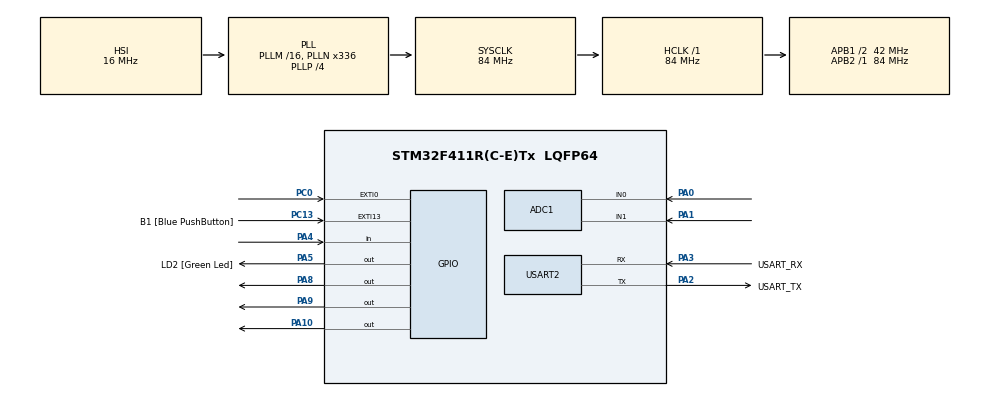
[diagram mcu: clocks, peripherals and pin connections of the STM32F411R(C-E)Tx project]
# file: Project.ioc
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ADC1.Channel-0\#ChannelRegularConversion=ADC_CHANNEL_1
ADC1.NbrOfConversionFlag=1
ADC1.Rank-0\#ChannelRegularConversion=1
ADC1.SamplingTime-0\#ChannelRegularConversion=ADC_SAMPLETIME_3CYCLES
ADC1.master=1
Mcu.Family=STM32F4
Mcu.Name=STM32F411R(C-E)Tx
Mcu.Package=LQFP64
NVIC.EXTI0_IRQn=true\:0\:0\:false\:false\:true\:true\:true\:true
NVIC.PriorityGroup=NVIC_PRIORITYGROUP_0
NVIC.USART2_IRQn=true\:0\:0\:false\:false\:true\:true\:true\:true
PA0-WKUP.Signal=ADCx_IN0
PA1.Signal=ADCx_IN1
PA10.Signal=GPIO_Output
PA13.GPIO_Label=TMS
PA13.Mode=Serial_Wire
PA13.Signal=SYS_JTMS-SWDIO
PA14.GPIO_Label=TCK
PA14.Mode=Serial_Wire
PA14.Signal=SYS_JTCK-SWCLK
PA2.GPIO_Label=USART_TX
PA2.Mode=Asynchronous
PA2.Signal=USART2_TX
PA3.GPIO_Label=USART_RX
PA3.Mode=Asynchronous
PA3.Signal=USART2_RX
PA4.GPIO_PuPd=GPIO_PULLUP
PA4.Signal=GPIO_Input
PA5.GPIO_Label=LD2 [Green Led]
PA5.Signal=GPIO_Output
PA8.Signal=GPIO_Output
PA9.Signal=GPIO_Output
PB3.GPIO_Label=SWO
PB3.Signal=SYS_JTDO-SWO
PC0.GPIO_ModeDefaultEXTI=GPIO_MODE_IT_FALLING
PC0.GPIO_PuPd=GPIO_PULLUP
PC0.Signal=GPXTI0
PC13-ANTI_TAMP.GPIO_Label=B1 [Blue PushButton]
PC13-ANTI_TAMP.GPIO_ModeDefaultEXTI=GPIO_MODE_IT_FALLING
PC13-ANTI_TAMP.Signal=GPXTI13
PC14-OSC32_IN.Mode=LSE-External-Oscillator
PC14-OSC32_IN.Signal=RCC_OSC32_IN
PC15-OSC32_OUT.Mode=LSE-External-Oscillator
PC15-OSC32_OUT.Signal=RCC_OSC32_OUT
PH0\ -\ OSC_IN.Mode=HSE-External-Clock-Source
PH0\ -\ OSC_IN.Signal=RCC_OSC_IN
PH1\ -\ OSC_OUT.Mode=HSE-External-Clock-Source
PH1\ -\ OSC_OUT.Signal=RCC_OSC_OUT
ProjectManager.HeapSize=0x200
ProjectManager.StackSize=0x400
ProjectManager.TargetToolchain=STM32CubeIDE
RCC.48MHZClocksFreq_Value=84000000
RCC.AHBFreq_Value=84000000
RCC.APB1CLKDivider=RCC_HCLK_DIV2
RCC.APB1Freq_Value=42000000
RCC.APB1TimFreq_Value=84000000
RCC.APB2Freq_Value=84000000
RCC.APB2TimFreq_Value=84000000
RCC.CortexFreq_Value=84000000
RCC.FLatency-AdvancedSettings=FLASH_LATENCY_2
RCC.HCLKFreq_Value=84000000
RCC.HSE_VALUE=8000000
RCC.HSI_VALUE=16000000
RCC.PLLN=336
RCC.PLLP=RCC_PLLP_DIV4
RCC.SYSCLKFreq_VALUE=84000000
RCC.SYSCLKSource=RCC_SYSCLKSOURCE_PLLCLK
RCC.VCOOutputFreq_Value=336000000
SH.ADCx_IN0.0=ADC1_IN0,IN0
SH.ADCx_IN1.0=ADC1_IN1,IN1
USART2.VirtualMode=VM_ASYNC
board=NUCLEO-F411RE

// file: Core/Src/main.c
/* USER CODE BEGIN Header */
/**
  ******************************************************************************
  * @file           : main.c
  * @brief          : Main program body
  ******************************************************************************
  * @attention
  *
  * Copyright (c) 2026 STMicroelectronics.
  * All rights reserved.
  *
  * This software is licensed under terms that can be found in the LICENSE file
  * in the root directory of this software component.
  * If no LICENSE file comes with this software, it is provided AS-IS.
  *
  ******************************************************************************
  */
/* USER CODE END Header */
#include "main.h"

ADC_HandleTypeDef hadc1;

UART_HandleTypeDef huart2;

/* USER CODE BEGIN PV */
uint32_t last_pressed_sw = 0;

uint8_t color_state = 0;

uint32_t val_x = 0;
uint32_t val_y = 0;
char buf[256];
/* USER CODE END PV */

void SystemClock_Config(void);
static void MX_GPIO_Init(void);
static void MX_USART2_UART_Init(void);
static void MX_ADC1_Init(void);

int main(void)
{

  /* MCU Configuration--------------------------------------------------------*/

  /* Reset of all peripherals, Initializes the Flash interface and the Systick. */
  HAL_Init();

  /* Configure the system clock */
  SystemClock_Config();

  /* Initialize all configured peripherals */
  MX_GPIO_Init();
  MX_USART2_UART_Init();
  MX_ADC1_Init();

  /* Infinite loop */
  /* USER CODE BEGIN WHILE */
  while (1)
  {
	  ADC_ChannelConfTypeDef sConfig = {0};

	  // ---- Read axis-x value ----
	  sConfig.Channel = ADC_CHANNEL_0;
	  sConfig.Rank = 1;
	  sConfig.SamplingTime = ADC_SAMPLETIME_3CYCLES;
	  HAL_ADC_ConfigChannel(&hadc1, &sConfig);

	  // Start ADC conversion
	  HAL_ADC_Start(&hadc1);
	  // Wait for 1000ms or when the conversion is finished.
	  if (HAL_ADC_PollForConversion(&hadc1, 1000) == HAL_OK) {
		  val_x = HAL_ADC_GetValue(&hadc1);
	  }

	  // ---- Read axis-y value ----
	  sConfig.Channel = ADC_CHANNEL_1;
	  sConfig.Rank = 1;
	  sConfig.SamplingTime = ADC_SAMPLETIME_3CYCLES;
	  HAL_ADC_ConfigChannel(&hadc1, &sConfig);

	  // Start ADC conversion
	  HAL_ADC_Start(&hadc1);
	  // Wait for 1000ms or when the conversion is finished.
	  if (HAL_ADC_PollForConversion(&hadc1, 1000) == HAL_OK) {
		  val_y = HAL_ADC_GetValue(&hadc1);
	  }

	  int len = sprintf(buf, "X: %lu | Y: %lu\r\n", val_x, val_y);
	  HAL_UART_Transmit(&huart2, (uint8_t*)buf, len, 100);

	  // ---- Read Joystick Switch value ----
	  if (HAL_GPIO_ReadPin(GPIOA, GPIO_PIN_4) == GPIO_PIN_RESET) {
		  HAL_GPIO_TogglePin(GPIOA, GPIO_PIN_5);
		  HAL_Delay(200);
	  }
    /* USER CODE END WHILE */

  }
}

void SystemClock_Config(void)
{
  RCC_OscInitTypeDef RCC_OscInitStruct = {0};
  RCC_ClkInitTypeDef RCC_ClkInitStruct = {0};

  /** Configure the main internal regulator output voltage
  */
  __HAL_RCC_PWR_CLK_ENABLE();
  __HAL_PWR_VOLTAGESCALING_CONFIG(PWR_REGULATOR_VOLTAGE_SCALE1);

  /** Initializes the RCC Oscillators according to the specified parameters
  * in the RCC_OscInitTypeDef structure.
  */
  RCC_OscInitStruct.OscillatorType = RCC_OSCILLATORTYPE_HSI;
  RCC_OscInitStruct.HSIState = RCC_HSI_ON;
  RCC_OscInitStruct.HSICalibrationValue = RCC_HSICALIBRATION_DEFAULT;
  RCC_OscInitStruct.PLL.PLLState = RCC_PLL_ON;
  RCC_OscInitStruct.PLL.PLLSource = RCC_PLLSOURCE_HSI;
  RCC_OscInitStruct.PLL.PLLM = 16;
  RCC_OscInitStruct.PLL.PLLN = 336;
  RCC_OscInitStruct.PLL.PLLP = RCC_PLLP_DIV4;
  RCC_OscInitStruct.PLL.PLLQ = 4;
  if (HAL_RCC_OscConfig(&RCC_OscInitStruct) != HAL_OK)
  {
    Error_Handler();
  }

  /** Initializes the CPU, AHB and APB buses clocks
  */
  RCC_ClkInitStruct.ClockType = RCC_CLOCKTYPE_HCLK|RCC_CLOCKTYPE_SYSCLK
                              |RCC_CLOCKTYPE_PCLK1|RCC_CLOCKTYPE_PCLK2;
  RCC_ClkInitStruct.SYSCLKSource = RCC_SYSCLKSOURCE_PLLCLK;
  RCC_ClkInitStruct.AHBCLKDivider = RCC_SYSCLK_DIV1;
  RCC_ClkInitStruct.APB1CLKDivider = RCC_HCLK_DIV2;
  RCC_ClkInitStruct.APB2CLKDivider = RCC_HCLK_DIV1;

  if (HAL_RCC_ClockConfig(&RCC_ClkInitStruct, FLASH_LATENCY_2) != HAL_OK)
  {
    Error_Handler();
  }
}

static void MX_ADC1_Init(void)
{

  ADC_ChannelConfTypeDef sConfig = {0};

  /** Configure the global features of the ADC (Clock, Resolution, Data Alignment and number of conversion)
  */
  hadc1.Instance = ADC1;
  hadc1.Init.ClockPrescaler = ADC_CLOCK_SYNC_PCLK_DIV4;
  hadc1.Init.Resolution = ADC_RESOLUTION_12B;
  hadc1.Init.ScanConvMode = DISABLE;
  hadc1.Init.ContinuousConvMode = DISABLE;
  hadc1.Init.DiscontinuousConvMode = DISABLE;
  hadc1.Init.ExternalTrigConvEdge = ADC_EXTERNALTRIGCONVEDGE_NONE;
  hadc1.Init.ExternalTrigConv = ADC_SOFTWARE_START;
  hadc1.Init.DataAlign = ADC_DATAALIGN_RIGHT;
  hadc1.Init.NbrOfConversion = 1;
  hadc1.Init.DMAContinuousRequests = DISABLE;
  hadc1.Init.EOCSelection = ADC_EOC_SINGLE_CONV;
  if (HAL_ADC_Init(&hadc1) != HAL_OK)
  {
    Error_Handler();
  }

  /** Configure for the selected ADC regular channel its corresponding rank in the sequencer and its sample time.
  */
  sConfig.Channel = ADC_CHANNEL_1;
  sConfig.Rank = 1;
  sConfig.SamplingTime = ADC_SAMPLETIME_3CYCLES;
  if (HAL_ADC_ConfigChannel(&hadc1, &sConfig) != HAL_OK)
  {
    Error_Handler();
  }

}

static void MX_USART2_UART_Init(void)
{

  huart2.Instance = USART2;
  huart2.Init.BaudRate = 115200;
  huart2.Init.WordLength = UART_WORDLENGTH_8B;
  huart2.Init.StopBits = UART_STOPBITS_1;
  huart2.Init.Parity = UART_PARITY_NONE;
  huart2.Init.Mode = UART_MODE_TX_RX;
  huart2.Init.HwFlowCtl = UART_HWCONTROL_NONE;
  huart2.Init.OverSampling = UART_OVERSAMPLING_16;
  if (HAL_UART_Init(&huart2) != HAL_OK)
  {
    Error_Handler();
  }

}

static void MX_GPIO_Init(void)
{
  GPIO_InitTypeDef GPIO_InitStruct = {0};

  /* GPIO Ports Clock Enable */
  __HAL_RCC_GPIOC_CLK_ENABLE();
  __HAL_RCC_GPIOH_CLK_ENABLE();
  __HAL_RCC_GPIOA_CLK_ENABLE();
  __HAL_RCC_GPIOB_CLK_ENABLE();

  /*Configure GPIO pin Output Level */
  HAL_GPIO_WritePin(GPIOA, LD2_Pin|GPIO_PIN_8|GPIO_PIN_9|GPIO_PIN_10, GPIO_PIN_RESET);

  /*Configure GPIO pin : B1_Pin */
  GPIO_InitStruct.Pin = B1_Pin;
  GPIO_InitStruct.Mode = GPIO_MODE_IT_FALLING;
  GPIO_InitStruct.Pull = GPIO_NOPULL;
  HAL_GPIO_Init(B1_GPIO_Port, &GPIO_InitStruct);

  /*Configure GPIO pin : PC0 */
  GPIO_InitStruct.Pin = GPIO_PIN_0;
  GPIO_InitStruct.Mode = GPIO_MODE_IT_FALLING;
  GPIO_InitStruct.Pull = GPIO_PULLUP;
  HAL_GPIO_Init(GPIOC, &GPIO_InitStruct);

  /*Configure GPIO pin : PA4 */
  GPIO_InitStruct.Pin = GPIO_PIN_4;
  GPIO_InitStruct.Mode = GPIO_MODE_INPUT;
  GPIO_InitStruct.Pull = GPIO_PULLUP;
  HAL_GPIO_Init(GPIOA, &GPIO_InitStruct);

  /*Configure GPIO pins : LD2_Pin PA8 PA9 PA10 */
  GPIO_InitStruct.Pin = LD2_Pin|GPIO_PIN_8|GPIO_PIN_9|GPIO_PIN_10;
  GPIO_InitStruct.Mode = GPIO_MODE_OUTPUT_PP;
  GPIO_InitStruct.Pull = GPIO_NOPULL;
  GPIO_InitStruct.Speed = GPIO_SPEED_FREQ_LOW;
  HAL_GPIO_Init(GPIOA, &GPIO_InitStruct);

  /* EXTI interrupt init*/
  HAL_NVIC_SetPriority(EXTI0_IRQn, 0, 0);
  HAL_NVIC_EnableIRQ(EXTI0_IRQn);

}

/* USER CODE BEGIN 4 */
void HAL_GPIO_EXTI_Callback(uint16_t GPIO_Pin) {
    if (GPIO_Pin == GPIO_PIN_0) {
    	uint32_t now = HAL_GetTick();
    	if ( now - last_pressed_sw >= 100) {
    		last_pressed_sw = now;

    		color_state = (color_state + 1)%7;

    		HAL_GPIO_WritePin(GPIOA, GPIO_PIN_8, GPIO_PIN_RESET);
    		HAL_GPIO_WritePin(GPIOA, GPIO_PIN_9, GPIO_PIN_RESET);
    		HAL_GPIO_WritePin(GPIOA, GPIO_PIN_10, GPIO_PIN_RESET);

			switch (color_state) {
				case 1: // red
					HAL_GPIO_WritePin(GPIOA, GPIO_PIN_8, GPIO_PIN_SET);
					break;
				case 2: // green
					HAL_GPIO_WritePin(GPIOA, GPIO_PIN_9, GPIO_PIN_SET);
					break;
				case 3: // blue
					HAL_GPIO_WritePin(GPIOA, GPIO_PIN_10, GPIO_PIN_SET);
					break;
				case 4: // yellow (red + green)
					HAL_GPIO_WritePin(GPIOA, GPIO_PIN_8, GPIO_PIN_SET);
					HAL_GPIO_WritePin(GPIOA, GPIO_PIN_9, GPIO_PIN_SET);
					break;
				case 5: // sky (green + blue)
					HAL_GPIO_WritePin(GPIOA, GPIO_PIN_9, GPIO_PIN_SET);
					HAL_GPIO_WritePin(GPIOA, GPIO_PIN_10, GPIO_PIN_SET);
					break;
				case 6: // purple (red + blue)
					HAL_GPIO_WritePin(GPIOA, GPIO_PIN_8, GPIO_PIN_SET);
					HAL_GPIO_WritePin(GPIOA, GPIO_PIN_10, GPIO_PIN_SET);
					break;
				default:
					break;
			}
    	}
    }
}
/* USER CODE END 4 */

void Error_Handler(void)
{
  __disable_irq();
  while (1)
  {
  }
}
